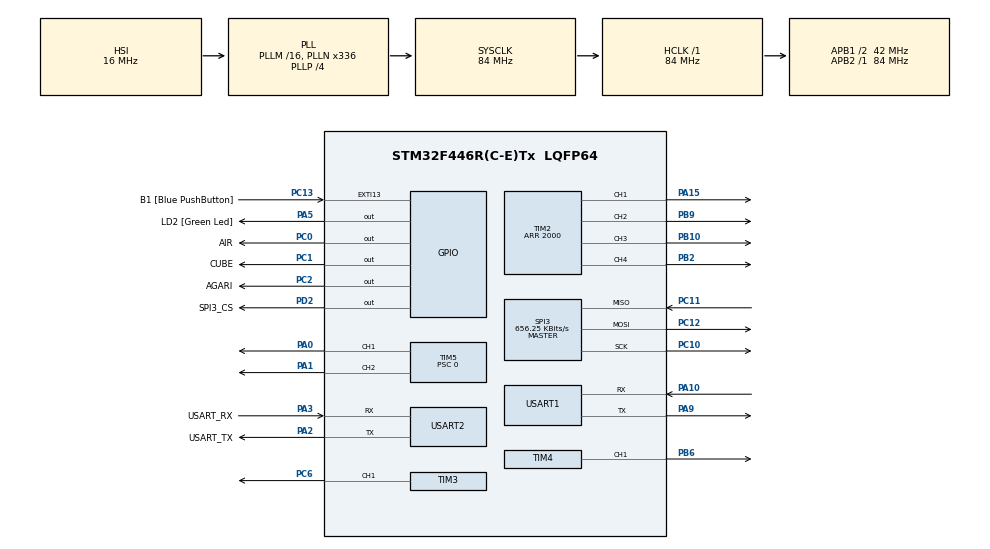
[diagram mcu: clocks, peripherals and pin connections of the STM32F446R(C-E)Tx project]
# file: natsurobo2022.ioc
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Mcu.Family=STM32F4
Mcu.Name=STM32F446R(C-E)Tx
Mcu.Package=LQFP64
NVIC.PriorityGroup=NVIC_PRIORITYGROUP_0
NVIC.USART1_IRQn=true\:0\:0\:false\:false\:true\:true\:true
PA0-WKUP.Signal=S_TIM5_CH1
PA1.Signal=S_TIM5_CH2
PA10.Mode=Asynchronous
PA10.Signal=USART1_RX
PA13.GPIO_Label=TMS
PA13.Mode=Serial_Wire
PA13.Signal=SYS_JTMS-SWDIO
PA14.GPIO_Label=TCK
PA14.Mode=Serial_Wire
PA14.Signal=SYS_JTCK-SWCLK
PA15.Signal=S_TIM2_CH1_ETR
PA2.GPIO_Label=USART_TX
PA2.Mode=Asynchronous
PA2.Signal=USART2_TX
PA3.GPIO_Label=USART_RX
PA3.Mode=Asynchronous
PA3.Signal=USART2_RX
PA5.GPIO_Label=LD2 [Green Led]
PA5.Signal=GPIO_Output
PA9.Mode=Asynchronous
PA9.Signal=USART1_TX
PB10.Signal=S_TIM2_CH3
PB2.Signal=S_TIM2_CH4
PB3.GPIO_Label=SWO
PB3.Signal=SYS_JTDO-SWO
PB6.Signal=S_TIM4_CH1
PB9.Signal=S_TIM2_CH2
PC0.GPIO_Label=AIR
PC0.Signal=GPIO_Output
PC1.GPIO_Label=CUBE
PC1.Signal=GPIO_Output
PC10.Mode=Full_Duplex_Master
PC10.Signal=SPI3_SCK
PC11.Mode=Full_Duplex_Master
PC11.Signal=SPI3_MISO
PC12.Mode=Full_Duplex_Master
PC12.Signal=SPI3_MOSI
PC13.GPIO_Label=B1 [Blue PushButton]
PC13.GPIO_ModeDefaultEXTI=GPIO_MODE_IT_FALLING
PC13.Signal=GPXTI13
PC14-OSC32_IN.Mode=LSE-External-Oscillator
PC14-OSC32_IN.Signal=RCC_OSC32_IN
PC15-OSC32_OUT.Mode=LSE-External-Oscillator
PC15-OSC32_OUT.Signal=RCC_OSC32_OUT
PC2.GPIO_Label=AGARI
PC2.Signal=GPIO_Output
PC6.Signal=S_TIM3_CH1
PD2.GPIO_Label=SPI3_CS
PD2.PinState=GPIO_PIN_SET
PD2.Signal=GPIO_Output
PH0-OSC_IN.Mode=HSE-External-Oscillator
PH0-OSC_IN.Signal=RCC_OSC_IN
PH1-OSC_OUT.Mode=HSE-External-Oscillator
PH1-OSC_OUT.Signal=RCC_OSC_OUT
ProjectManager.HeapSize=0x200
ProjectManager.StackSize=0x400
ProjectManager.TargetToolchain=STM32CubeIDE
RCC.48MHZClocksFreq_Value=84000000
RCC.AHBFreq_Value=84000000
RCC.APB1CLKDivider=RCC_HCLK_DIV2
RCC.APB1Freq_Value=42000000
RCC.APB1TimFreq_Value=84000000
RCC.APB2Freq_Value=84000000
RCC.APB2TimFreq_Value=84000000
RCC.CortexFreq_Value=84000000
RCC.FLatency-AdvancedSettings=FLASH_LATENCY_2
RCC.HCLKFreq_Value=84000000
RCC.HSE_VALUE=8000000
RCC.HSI_VALUE=16000000
RCC.PLLN=336
RCC.PLLP=RCC_PLLP_DIV4
RCC.SYSCLKFreq_VALUE=84000000
RCC.SYSCLKSource=RCC_SYSCLKSOURCE_PLLCLK
RCC.USBFreq_Value=168000000
RCC.VCOOutputFreq_Value=336000000
SH.S_TIM2_CH1_ETR.0=TIM2_CH1,PWM Generation1 CH1
SH.S_TIM2_CH2.0=TIM2_CH2,PWM Generation2 CH2
SH.S_TIM2_CH3.0=TIM2_CH3,PWM Generation3 CH3
SH.S_TIM2_CH4.0=TIM2_CH4,PWM Generation4 CH4
SH.S_TIM3_CH1.0=TIM3_CH1,PWM Generation1 CH1
SH.S_TIM4_CH1.0=TIM4_CH1,PWM Generation1 CH1
SH.S_TIM5_CH1.0=TIM5_CH1,PWM Generation1 CH1
SH.S_TIM5_CH2.0=TIM5_CH2,PWM Generation2 CH2
SPI3.BaudRatePrescaler=SPI_BAUDRATEPRESCALER_64
SPI3.CLKPhase=SPI_PHASE_2EDGE
SPI3.CLKPolarity=SPI_POLARITY_HIGH
SPI3.CalculateBaudRate=656.25 KBits/s
SPI3.Direction=SPI_DIRECTION_2LINES
SPI3.Mode=SPI_MODE_MASTER
SPI3.VirtualType=VM_MASTER
TIM2.Channel-PWM\ Generation1\ CH1=TIM_CHANNEL_1
TIM2.Channel-PWM\ Generation2\ CH2=TIM_CHANNEL_2
TIM2.Channel-PWM\ Generation3\ CH3=TIM_CHANNEL_3
TIM2.Channel-PWM\ Generation4\ CH4=TIM_CHANNEL_4
TIM2.Period=2000
TIM3.Channel-PWM\ Generation1\ CH1=TIM_CHANNEL_1
TIM3.Period=2000
TIM3.Prescaler=840
TIM4.Channel-PWM\ Generation1\ CH1=TIM_CHANNEL_1
TIM4.Period=2000
TIM4.Prescaler=840
TIM5.Channel-PWM\ Generation1\ CH1=TIM_CHANNEL_1
TIM5.Channel-PWM\ Generation2\ CH2=TIM_CHANNEL_2
TIM5.Period=2000
TIM5.Prescaler=0
USART1.VirtualMode=VM_ASYNC
USART2.VirtualMode=VM_ASYNC
board=NUCLEO-F446RE

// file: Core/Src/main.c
/* USER CODE BEGIN Header */
/**
  ******************************************************************************
  * @file           : main.c
  * @brief          : Main program body
  ******************************************************************************
  * @attention
  *
  * Copyright (c) 2022 STMicroelectronics.
  * All rights reserved.
  *
  * This software is licensed under terms that can be found in the LICENSE file
  * in the root directory of this software component.
  * If no LICENSE file comes with this software, it is provided AS-IS.
  *
  ******************************************************************************
  */
/* USER CODE END Header */
#include "main.h"
#include "spi.h"
#include "tim.h"
#include "usart.h"
#include "gpio.h"

/* USER CODE BEGIN Includes */
#include "math.h"
#include "stdio.h"
#include "MPU9250.h"

/* USER CODE END Includes */

/* USER CODE BEGIN PD */
uint8_t DS3_BTNS_DATMAP_BYTE[16] = {
    2, 2, 2, 2, 2, 2,/* 0, 0,*/ 2, 2, 2, 1, 1, 1, 1, 1
};

uint8_t DS3_BTNS_DATMAP_BITMASK[16] = {
    0x03, 0x0C, 0x03, 0x0C, 0x03, 0x0C,/* 0x00, 0x00,*/
    0x10, 0x40, 0x20, 0x01, 0x04, 0x10, 0x02, 0x08,
};

uint8_t DS3_BTNS_DATMAP_FLAGBIT[16] = {
    0x01, 0x04, 0x02, 0x08, 0x03, 0x0C,/* 0x00, 0x00,*/
    0x10, 0x40, 0x20, 0x01, 0x04, 0x10, 0x02, 0x08,
};
/* USER CODE END PD */

/* USER CODE BEGIN PV */
uint8_t SBDBTRxData[8];
int buttonsIsPressed[16] = {0};
float LX = 0.0f;
float LY = 0.0f;
float RX = 0.0f;
float RY = 0.0f;

/* USER CODE END PV */

void SystemClock_Config(void);
/* USER CODE BEGIN PFP */
void Analyze_Raw_Data();

/* USER CODE END PFP */

int main(void)
{
  /* USER CODE BEGIN 1 */
	setbuf(stdout, NULL);

  /* USER CODE END 1 */

  /* MCU Configuration--------------------------------------------------------*/

  /* Reset of all peripherals, Initializes the Flash interface and the Systick. */
  HAL_Init();

  /* Configure the system clock */
  SystemClock_Config();

  /* Initialize all configured peripherals */
  MX_GPIO_Init();
  MX_USART2_UART_Init();
  MX_USART1_UART_Init();
  MX_TIM2_Init();
  MX_SPI3_Init();
  MX_TIM5_Init();
  MX_TIM3_Init();
  MX_TIM4_Init();
  /* USER CODE BEGIN 2 */
  LL_TIM_EnableCounter(TIM2);
  LL_TIM_CC_EnableChannel(TIM2, LL_TIM_CHANNEL_CH1);
  LL_TIM_CC_EnableChannel(TIM2, LL_TIM_CHANNEL_CH2);
  LL_TIM_CC_EnableChannel(TIM2, LL_TIM_CHANNEL_CH3);
  LL_TIM_CC_EnableChannel(TIM2, LL_TIM_CHANNEL_CH4);
  LL_TIM_OC_SetCompareCH1(TIM2, 1000);
  LL_TIM_OC_SetCompareCH2(TIM2, 1000);
  LL_TIM_OC_SetCompareCH3(TIM2, 1000);
  LL_TIM_OC_SetCompareCH4(TIM2, 1000);

  LL_TIM_EnableCounter(TIM3);
  LL_TIM_CC_EnableChannel(TIM3, LL_TIM_CHANNEL_CH1);
  LL_TIM_OC_SetCompareCH1(TIM3, 145);
  LL_TIM_EnableCounter(TIM4);
  LL_TIM_CC_EnableChannel(TIM4, LL_TIM_CHANNEL_CH1);
  LL_TIM_OC_SetCompareCH1(TIM4, 145);

  LL_TIM_EnableCounter(TIM5);
  LL_TIM_CC_EnableChannel(TIM5, LL_TIM_CHANNEL_CH1);
  LL_TIM_CC_EnableChannel(TIM5, LL_TIM_CHANNEL_CH2);
  LL_TIM_OC_SetCompareCH1(TIM5, 1000);
  LL_TIM_OC_SetCompareCH2(TIM5, 1000);

  MPU9250_Init();
  printf("Calibration\r\n");
  MPU9250_Calibration();

  HAL_UART_Receive_IT(&huart1, SBDBTRxData, 8);

  HAL_GPIO_WritePin(LD2_GPIO_Port, LD2_Pin, GPIO_PIN_SET);

  /* USER CODE END 2 */

  /* Infinite loop */
  while (1)
  {

    /* USER CODE BEGIN 3 */
	  static int count;

	  static float theta;
	  static float ref = 0;
	  theta += MPU9250_Read_GyroZ()*0.013f;

	  float Lr = sqrt(LX*LX+LY*LY);
	  float Rr = sqrt(RX*RX+RY*RY);

	  if (Lr > 64.0f) {
		  LX = LX * (64.0f/Lr);
		  LY = LY * (64.0f/Lr);
		  Lr = sqrt(LX*LX+LY*LY);
	  }
	  if (Rr > 64.0f) {
		  RX = RX * (64.0f/Rr);
		  RY = RY * (64.0f/Rr);
		  Rr = sqrt(RX*RX+RY*RY);
	  }

	  const float a = 0.155f;
	  const float b = 0.155f;
	  float vx = LX*0.0f;
	  //float vx = LY*10.0f;
	  float vy = LY*0.0f;
	  //float vy = LX*(-10.0f);
	  float omega;
	  if (buttonsIsPressed[0]) {
		  vy = 200.0f;
		  //vx = 200.0f;
	  } else if (buttonsIsPressed[1]) {
		  vx = 200.0f;
		  //vy = -200.0f;
	  } else if (buttonsIsPressed[2]) {
		  vy = -200.0f;
		  //vx = -200.0f;
	  } else if (buttonsIsPressed[3]) {
		  vx = -200.0f;
		  //vy = 200.0f;
	  } else {
		  ;
	  }
	  if (buttonsIsPressed[12]) {
		  //omega = 700;
		  ref += 0.5f;
	  } else if (buttonsIsPressed[13]) {
		  //omega = -700;
		  ref -= 0.5f;
	  } else {
		  //omega = 0;
	  }
	  omega = (ref-theta)*200;

	  float v[4];
	  v[0] = -vx + vy + (a+b)*omega;
	  v[1] = +vx + vy - (a+b)*omega;
	  v[2] = -vx + vy - (a+b)*omega;
	  v[3] = +vx + vy + (a+b)*omega;

	  float max = fabs(v[0]);
	  for (int i=0; i<4; i++){
		  if (fabs(v[i]) > max) {
			  max = fabs(v[i]);
		  }
	  }
	  if (max > 1000) {
		  for (int i=0; i<4; i++) {
			  v[i] *= (1000/max);
		  }
	  }

	  /*
	  if (v[0] > 1000) v[0] = 1000;
	  if (v[0] < -1000) v[0] = -1000;
	  if (v[1] > 1000) v[1] = 1000;
	  if (v[1] < -1000) v[1] = -1000;
	  if (v[2] > 1000) v[2] = 1000;
	  if (v[2] < -1000) v[2] = -1000;
	  if (v[3] > 1000) v[3] = 1000;
	  if (v[3] < -1000) v[3] = -1000;
	  */

	  v[0] *= -1;
	  v[2] *= -1;

	  LL_TIM_OC_SetCompareCH1(TIM2, (int)(v[0]+1000));
	  LL_TIM_OC_SetCompareCH2(TIM2, (int)(v[1]+1000));
	  LL_TIM_OC_SetCompareCH3(TIM2, (int)(v[2]+1000));
	  LL_TIM_OC_SetCompareCH4(TIM2, (int)(v[3]+1000));

	  LL_TIM_OC_SetCompareCH1(TIM5, 1300);

	  if (RX > 1.0f) { //取り込みアーム
		  LL_TIM_OC_SetCompareCH1(TIM5, 100);
	  } else if (RX < -1.0f){
		  LL_TIM_OC_SetCompareCH1(TIM5, 1900);
	  } else {
		  LL_TIM_OC_SetCompareCH1(TIM5, 1000);
	  }

	  /*
	  if (RY < -1.0f) { //取り込みアーム
		  LL_TIM_OC_SetCompareCH1(TIM5, 1900);
	  } else if (RY > 1.0f){
		  LL_TIM_OC_SetCompareCH1(TIM5, 100);
	  } else {
		  LL_TIM_OC_SetCompareCH1(TIM5, 1000);
	  }
	  */

	  if (buttonsIsPressed[9]) { //サーボ
		  LL_TIM_OC_SetCompareCH1(TIM3, 70);
		  LL_TIM_OC_SetCompareCH1(TIM4, 80);
	  } else if (buttonsIsPressed[4]){
		  LL_TIM_OC_SetCompareCH1(TIM3, 180);
		  LL_TIM_OC_SetCompareCH1(TIM4, 180);
	  } else {
		  //LL_TIM_OC_SetCompareCH1(TIM3, 145);
	  }

	  if (buttonsIsPressed[7]) { //駒アーム
		  HAL_GPIO_WritePin(AIR_GPIO_Port, AIR_Pin, GPIO_PIN_SET);
	  } else {
		  HAL_GPIO_WritePin(AIR_GPIO_Port, AIR_Pin, GPIO_PIN_RESET);
	  }

	  static int prev6;
	  static int prev8;
	  if (prev6==0 && buttonsIsPressed[6]) { //参の目
		  count = 8;
	  } else if (prev8==0 && buttonsIsPressed[8]) { //壱の目
		  count = 2;
	  } else if (count > 0) {
		  count--;
	  } else {
		  ;
	  }
	  prev6 = buttonsIsPressed[6];
	  prev8 = buttonsIsPressed[8];

	  if (count > 0) {
		  HAL_GPIO_WritePin(CUBE_GPIO_Port, CUBE_Pin, GPIO_PIN_SET);
	  } else {
		  HAL_GPIO_WritePin(CUBE_GPIO_Port, CUBE_Pin, GPIO_PIN_RESET);
	  }

	  if (buttonsIsPressed[5]) { //あがり
		  HAL_GPIO_WritePin(AGARI_GPIO_Port, AGARI_Pin, GPIO_PIN_SET);;
	  } else {
		  HAL_GPIO_WritePin(AGARI_GPIO_Port, AGARI_Pin, GPIO_PIN_RESET);;
	  }

	  /*
	  for(int i=0; i<16; i++){
		  printf("%d ", buttonsIsPressed[i]);
	  }
	  printf("\r\n");
	  */

	  printf("LX=%f LY=%f RX=%f RY=%f %f %f\r\n", LX, LY, RX, RY, Lr, Rr);
	  //printf("v1=%f v2=%f v3=%f v4=%f\r\n", v[0], v[1], v[2], v[3]);
	  //printf("v1=%d v2=%d v3=%d v4=%d\r\n", (int)(v1+1000), (int)(v2+1000), (int)(v3+1000), (int)(v4+1000));
	  //printf("%f\r\n", theta);
	  HAL_Delay(10);
  }
  /* USER CODE END 3 */
}

void SystemClock_Config(void)
{
  RCC_OscInitTypeDef RCC_OscInitStruct = {0};
  RCC_ClkInitTypeDef RCC_ClkInitStruct = {0};

  /** Configure the main internal regulator output voltage
  */
  __HAL_RCC_PWR_CLK_ENABLE();
  __HAL_PWR_VOLTAGESCALING_CONFIG(PWR_REGULATOR_VOLTAGE_SCALE3);
  /** Initializes the RCC Oscillators according to the specified parameters
  * in the RCC_OscInitTypeDef structure.
  */
  RCC_OscInitStruct.OscillatorType = RCC_OSCILLATORTYPE_HSI;
  RCC_OscInitStruct.HSIState = RCC_HSI_ON;
  RCC_OscInitStruct.HSICalibrationValue = RCC_HSICALIBRATION_DEFAULT;
  RCC_OscInitStruct.PLL.PLLState = RCC_PLL_ON;
  RCC_OscInitStruct.PLL.PLLSource = RCC_PLLSOURCE_HSI;
  RCC_OscInitStruct.PLL.PLLM = 16;
  RCC_OscInitStruct.PLL.PLLN = 336;
  RCC_OscInitStruct.PLL.PLLP = RCC_PLLP_DIV4;
  RCC_OscInitStruct.PLL.PLLQ = 2;
  RCC_OscInitStruct.PLL.PLLR = 2;
  if (HAL_RCC_OscConfig(&RCC_OscInitStruct) != HAL_OK)
  {
    Error_Handler();
  }
  /** Initializes the CPU, AHB and APB buses clocks
  */
  RCC_ClkInitStruct.ClockType = RCC_CLOCKTYPE_HCLK|RCC_CLOCKTYPE_SYSCLK
                              |RCC_CLOCKTYPE_PCLK1|RCC_CLOCKTYPE_PCLK2;
  RCC_ClkInitStruct.SYSCLKSource = RCC_SYSCLKSOURCE_PLLCLK;
  RCC_ClkInitStruct.AHBCLKDivider = RCC_SYSCLK_DIV1;
  RCC_ClkInitStruct.APB1CLKDivider = RCC_HCLK_DIV2;
  RCC_ClkInitStruct.APB2CLKDivider = RCC_HCLK_DIV1;

  if (HAL_RCC_ClockConfig(&RCC_ClkInitStruct, FLASH_LATENCY_2) != HAL_OK)
  {
    Error_Handler();
  }
}

/* USER CODE BEGIN 4 */
int _write(int file, char *ptr, int len)
{
	HAL_UART_Transmit(&huart2, (uint8_t *)ptr, len, 10);
	return len;
}

void HAL_UART_RxCpltCallback(UART_HandleTypeDef *UartHandle)
{
    HAL_UART_Receive_IT(&huart1, SBDBTRxData, 8);
    Analyze_Raw_Data();
}

void Analyze_Raw_Data()
{
    for(int i=0; i<16; i++){
    	int f = (SBDBTRxData[DS3_BTNS_DATMAP_BYTE[i]] & DS3_BTNS_DATMAP_BITMASK[i]) == DS3_BTNS_DATMAP_FLAGBIT[i];
        buttonsIsPressed[i] = f;
    }
    LX = (float)(SBDBTRxData[3]) - 64.0f;
    LY = 64.0f - (float)(SBDBTRxData[4]);
    RX = (float)(SBDBTRxData[5]) - 64.0f;
    RY = 64.0f - (float)(SBDBTRxData[6]);
}

/* USER CODE END 4 */

void Error_Handler(void)
{
  __disable_irq();
  while (1)
  {
  }
}
